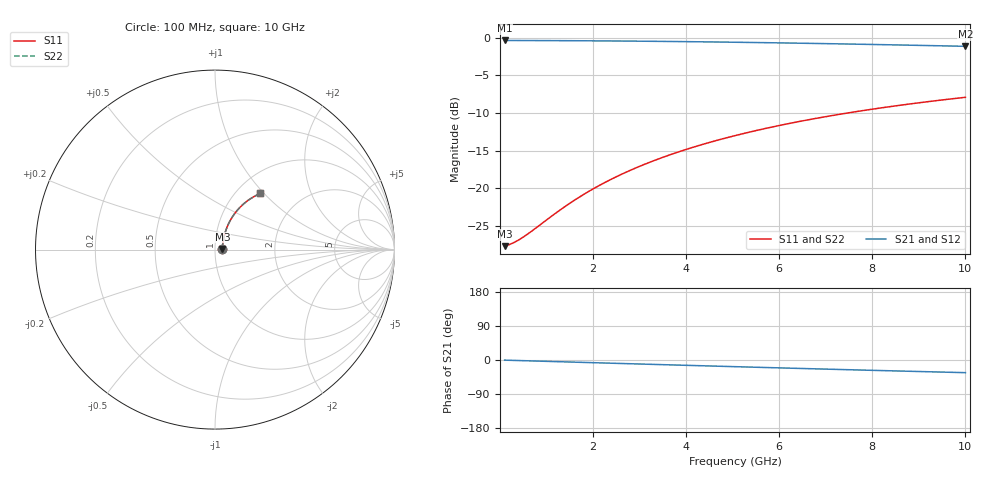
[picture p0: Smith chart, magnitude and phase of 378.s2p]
# Hz S RI R 50.00
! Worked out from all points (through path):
!   100 points, 100 MHz to 10 GHz, reference 50 ohm
!   highest |S21| = -0.37 dB at 100 MHz (marker M1); lowest = -1.1 dB at 10 GHz (marker M2)
!   group delay of S21, straight-line fit = 9.31 ps
!   lowest |S11| = -27.7 dB at 100 MHz (marker M3), VSWR 1.09, Z = 54.3 + j0.463 ohm
!   |S11| at or under -10 dB: start of sweep to 7.459 GHz
!   |S22| runs from -27.7 to -7.9 dB; largest |S21 - S12| = 0
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1e8  0.0412 0.00426  0.9588 -0.00594  0.9588 -0.00594  0.0412 0.00426
2e8  0.0415 0.00851  0.9585 -0.0119  0.9585 -0.0119  0.0415 0.00851
3e8  0.0419 0.0128  0.9581 -0.0178  0.9581 -0.0178  0.0419 0.0128
5e8  0.0426 0.0212  0.9574 -0.0296  0.9574 -0.0296  0.0426 0.0212
7e8  0.0434 0.0297  0.9565 -0.0415  0.9565 -0.0415  0.0434 0.0297
1.3e9  0.047 0.0548  0.9527 -0.0767  0.9527 -0.0767  0.047 0.0548
1.6e9  0.0495 0.0673  0.9501 -0.0942  0.9501 -0.0942  0.0495 0.0673
1.8e9  0.0513 0.0755  0.9482 -0.1058  0.9482 -0.1058  0.0513 0.0755
2.2e9  0.0557 0.0918  0.9436 -0.1288  0.9436 -0.1288  0.0557 0.0918
2.6e9  0.0607 0.1077  0.9382 -0.1515  0.9382 -0.1515  0.0607 0.1077
3e9  0.0665 0.1234  0.9321 -0.1739  0.9321 -0.1739  0.0665 0.1234
3.4e9  0.0731 0.1387  0.9252 -0.1959  0.9252 -0.1959  0.0731 0.1387
3.8e9  0.0803 0.1535  0.9176 -0.2176  0.9176 -0.2176  0.0803 0.1535
4.2e9  0.0882 0.1679  0.9092 -0.2388  0.9092 -0.2388  0.0882 0.1679
4.6e9  0.0967 0.1819  0.9002 -0.2595  0.9002 -0.2595  0.0967 0.1819
5.1e9  0.1081 0.1986  0.888 -0.2846  0.888 -0.2846  0.1081 0.1986
5.9e9  0.1282 0.2235  0.8667 -0.3232  0.8667 -0.3232  0.1282 0.2235
6.7e9  0.1501 0.2461  0.8433 -0.3594  0.8433 -0.3594  0.1501 0.2461
7.5e9  0.1735 0.2662  0.8182 -0.3931  0.8182 -0.3931  0.1735 0.2662
8.4e9  0.2013 0.2858  0.7882 -0.4282  0.7882 -0.4282  0.2013 0.2858
9.2e9  0.227 0.3005  0.7604 -0.4567  0.7604 -0.4567  0.227 0.3005
1e10  0.2532 0.3127  0.7318 -0.4827  0.7318 -0.4827  0.2532 0.3127
